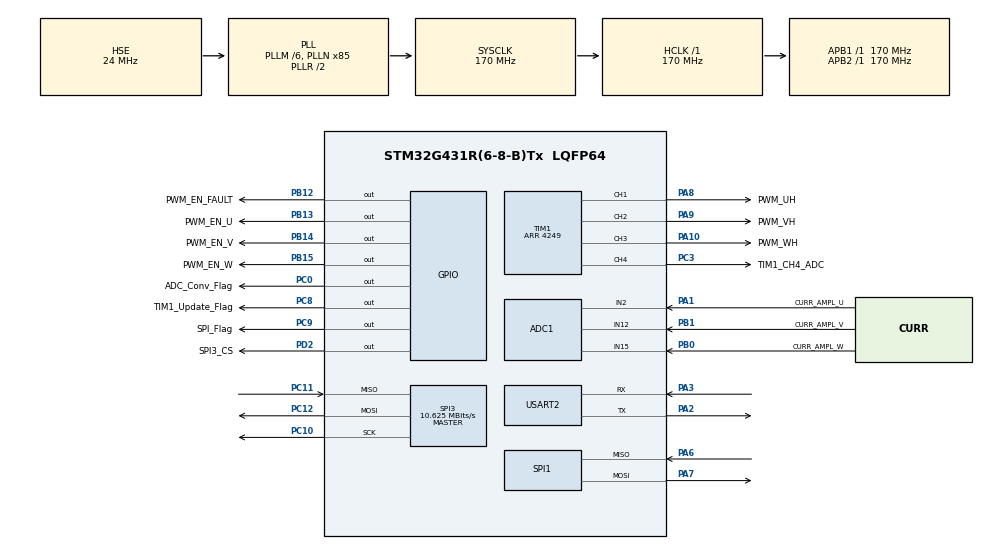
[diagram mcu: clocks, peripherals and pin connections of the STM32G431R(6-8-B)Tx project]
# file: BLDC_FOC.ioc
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ADC1.ClockPrescaler=ADC_CLOCK_ASYNC_DIV1
ADC1.DataAlign=ADC_DATAALIGN_RIGHT
ADC1.EnableInjectedConversion=ENABLE
ADC1.EnableRegularConversion=DISABLE
ADC1.ExternalTrigInjecConv=ADC_EXTERNALTRIGINJEC_T1_CC4
ADC1.InjNumberOfConversion=2
ADC1.InjectedChannel-3\#ChannelInjectedConversion=ADC_CHANNEL_2
ADC1.InjectedChannel-4\#ChannelInjectedConversion=ADC_CHANNEL_12
ADC1.InjectedOffsetNumber-3\#ChannelInjectedConversion=ADC_OFFSET_NONE
ADC1.InjectedOffsetNumber-4\#ChannelInjectedConversion=ADC_OFFSET_NONE
ADC1.InjectedRank-3\#ChannelInjectedConversion=1
ADC1.InjectedRank-4\#ChannelInjectedConversion=2
ADC1.InjectedSamplingTime-3\#ChannelInjectedConversion=ADC_SAMPLETIME_2CYCLES_5
ADC1.InjectedSamplingTime-4\#ChannelInjectedConversion=ADC_SAMPLETIME_2CYCLES_5
ADC1.Rank1_Channel=ADC_CHANNEL_2
ADC1.Rank2_Channel=ADC_CHANNEL_12
ADC1.Rank3_Channel=ADC_CHANNEL_15
ADC1.injectedQueueMode=DISABLE
ADC1.master=1
Dma.Request0=SPI3_TX
Dma.Request1=SPI3_RX
Dma.SPI3_RX.1.Direction=DMA_PERIPH_TO_MEMORY
Dma.SPI3_RX.1.EventEnable=DISABLE
Dma.SPI3_RX.1.Instance=DMA1_Channel2
Dma.SPI3_RX.1.MemDataAlignment=DMA_MDATAALIGN_BYTE
Dma.SPI3_RX.1.MemInc=DMA_MINC_ENABLE
Dma.SPI3_RX.1.Mode=DMA_NORMAL
Dma.SPI3_RX.1.PeriphDataAlignment=DMA_PDATAALIGN_BYTE
Dma.SPI3_RX.1.PeriphInc=DMA_PINC_DISABLE
Dma.SPI3_RX.1.Polarity=HAL_DMAMUX_REQ_GEN_RISING
Dma.SPI3_RX.1.Priority=DMA_PRIORITY_MEDIUM
Dma.SPI3_RX.1.RequestNumber=1
Dma.SPI3_RX.1.SignalID=NONE
Dma.SPI3_RX.1.SyncEnable=DISABLE
Dma.SPI3_RX.1.SyncPolarity=HAL_DMAMUX_SYNC_NO_EVENT
Dma.SPI3_RX.1.SyncRequestNumber=1
Dma.SPI3_RX.1.SyncSignalID=NONE
Dma.SPI3_TX.0.Direction=DMA_MEMORY_TO_PERIPH
Dma.SPI3_TX.0.EventEnable=DISABLE
Dma.SPI3_TX.0.Instance=DMA1_Channel1
Dma.SPI3_TX.0.MemDataAlignment=DMA_MDATAALIGN_BYTE
Dma.SPI3_TX.0.MemInc=DMA_MINC_ENABLE
Dma.SPI3_TX.0.Mode=DMA_NORMAL
Dma.SPI3_TX.0.PeriphDataAlignment=DMA_PDATAALIGN_BYTE
Dma.SPI3_TX.0.PeriphInc=DMA_PINC_DISABLE
Dma.SPI3_TX.0.Polarity=HAL_DMAMUX_REQ_GEN_RISING
Dma.SPI3_TX.0.Priority=DMA_PRIORITY_MEDIUM
Dma.SPI3_TX.0.RequestNumber=1
Dma.SPI3_TX.0.SignalID=NONE
Dma.SPI3_TX.0.SyncEnable=DISABLE
Dma.SPI3_TX.0.SyncPolarity=HAL_DMAMUX_SYNC_NO_EVENT
Dma.SPI3_TX.0.SyncRequestNumber=1
Dma.SPI3_TX.0.SyncSignalID=NONE
Mcu.Family=STM32G4
Mcu.Name=STM32G431R(6-8-B)Tx
Mcu.Package=LQFP64
NUCLEO-G431RB.BUTTON=1
NUCLEO-G431RB.LD1=true
NUCLEO-G431RB.VCP=true
NVIC.ADC1_2_IRQn=true\:1\:0\:true\:false\:true\:true\:true\:true
NVIC.DMA1_Channel1_IRQn=true\:1\:0\:true\:false\:true\:false\:true\:true
NVIC.DMA1_Channel2_IRQn=true\:1\:0\:true\:false\:true\:false\:true\:true
NVIC.PriorityGroup=NVIC_PRIORITYGROUP_4
NVIC.TIM1_UP_TIM16_IRQn=true\:0\:0\:true\:false\:true\:true\:true\:true
NVIC.TIM2_IRQn=true\:2\:0\:true\:false\:true\:true\:true\:true
NVIC.TIM3_IRQn=true\:3\:0\:true\:false\:true\:true\:true\:true
NVIC.TIM4_IRQn=true\:1\:0\:true\:false\:true\:true\:true\:true
NVIC.USART2_IRQn=true\:4\:0\:true\:false\:true\:true\:true\:true
PA1.GPIO_Label=CURR_AMPL_U
PA1.Mode=IN2-Single-Ended
PA1.Signal=ADC1_IN2
PA10.GPIO_Label=PWM_WH
PA10.Signal=S_TIM1_CH3
PA13.Mode=Serial_Wire
PA13.Signal=SYS_JTMS-SWDIO
PA14.Mode=Serial_Wire
PA14.Signal=SYS_JTCK-SWCLK
PA2.Mode=Asynchronous
PA2.Signal=USART2_TX
PA3.Mode=Asynchronous
PA3.Signal=USART2_RX
PA6.Mode=Full_Duplex_Master
PA6.Signal=SPI1_MISO
PA7.Mode=Full_Duplex_Master
PA7.Signal=SPI1_MOSI
PA8.GPIO_Label=PWM_UH
PA8.Signal=S_TIM1_CH1
PA9.GPIO_Label=PWM_VH
PA9.Signal=S_TIM1_CH2
PB0.GPIO_Label=CURR_AMPL_W
PB0.Mode=IN15-Single-Ended
PB0.Signal=ADC1_IN15
PB1.GPIO_Label=CURR_AMPL_V
PB1.Mode=IN12-Single-Ended
PB1.Signal=ADC1_IN12
PB12.GPIO_Label=PWM_EN_FAULT
PB12.GPIO_PuPd=GPIO_NOPULL
PB12.PinState=GPIO_PIN_SET
PB12.Signal=GPIO_Output
PB13.GPIO_Label=PWM_EN_U
PB13.GPIO_PuPd=GPIO_NOPULL
PB13.GPIO_Speed=GPIO_SPEED_FREQ_HIGH
PB13.PinState=GPIO_PIN_SET
PB13.Signal=GPIO_Output
PB14.GPIO_Label=PWM_EN_V
PB14.GPIO_PuPd=GPIO_NOPULL
PB14.GPIO_Speed=GPIO_SPEED_FREQ_HIGH
PB14.PinState=GPIO_PIN_SET
PB14.Signal=GPIO_Output
PB15.GPIO_Label=PWM_EN_W
PB15.GPIO_PuPd=GPIO_NOPULL
PB15.GPIO_Speed=GPIO_SPEED_FREQ_HIGH
PB15.PinState=GPIO_PIN_SET
PB15.Signal=GPIO_Output
PC0.GPIO_Label=ADC_Conv_Flag
PC0.Signal=GPIO_Output
PC10.Mode=Full_Duplex_Master
PC10.Signal=SPI3_SCK
PC11.Mode=Full_Duplex_Master
PC11.Signal=SPI3_MISO
PC12.Mode=Full_Duplex_Master
PC12.Signal=SPI3_MOSI
PC3.GPIO_Label=TIM1_CH4_ADC
PC3.Signal=S_TIM1_CH4
PC8.GPIO_Label=TIM1_Update_Flag
PC8.Signal=GPIO_Output
PC9.GPIO_Label=SPI_Flag
PC9.Signal=GPIO_Output
PD2.GPIO_Label=SPI3_CS
PD2.Signal=GPIO_Output
PF0-OSC_IN.GPIO_Label=RCC_OSC_IN
PF0-OSC_IN.Mode=HSE-External-Oscillator
PF0-OSC_IN.Signal=RCC_OSC_IN
PF1-OSC_OUT.GPIO_Label=RCC_OSC_OUT
PF1-OSC_OUT.Mode=HSE-External-Oscillator
PF1-OSC_OUT.Signal=RCC_OSC_OUT
ProjectManager.HeapSize=0x200
ProjectManager.StackSize=0x400
ProjectManager.TargetToolchain=STM32CubeIDE
RCC.ADC12CLockSelection=RCC_ADC12CLKSOURCE_PLL
RCC.ADC12Freq_Value=42500000
RCC.AHBFreq_Value=170000000
RCC.APB1Freq_Value=170000000
RCC.APB1TimFreq_Value=170000000
RCC.APB2Freq_Value=170000000
RCC.APB2TimFreq_Value=170000000
RCC.CortexFreq_Value=170000000
RCC.EXTERNAL_CLOCK_VALUE=12288000
RCC.HCLKFreq_Value=170000000
RCC.HSE_VALUE=24000000
RCC.HSI48_VALUE=48000000
RCC.HSI_VALUE=16000000
RCC.LSE_VALUE=32768
RCC.PLLM=RCC_PLLM_DIV6
RCC.PLLN=85
RCC.PLLP=RCC_PLLP_DIV8
RCC.PLLSourceVirtual=RCC_PLLSOURCE_HSE
RCC.RTCClockSelection=RCC_RTCCLKSOURCE_LSE
RCC.SYSCLKFreq_VALUE=170000000
RCC.SYSCLKSource=RCC_SYSCLKSOURCE_PLLCLK
RCC.USBFreq_Value=170000000
RCC.VCOOutputFreq_Value=340000000
SH.S_TIM1_CH1.0=TIM1_CH1,PWM Generation1 CH1
SH.S_TIM1_CH2.0=TIM1_CH2,PWM Generation2 CH2
SH.S_TIM1_CH3.0=TIM1_CH3,PWM Generation3 CH3
SH.S_TIM1_CH4.0=TIM1_CH4,PWM Generation4 CH4
SPI3.BaudRatePrescaler=SPI_BAUDRATEPRESCALER_16
SPI3.CLKPhase=SPI_PHASE_2EDGE
SPI3.CalculateBaudRate=10.625 MBits/s
SPI3.DataSize=SPI_DATASIZE_8BIT
SPI3.Direction=SPI_DIRECTION_2LINES
SPI3.Mode=SPI_MODE_MASTER
SPI3.VirtualType=VM_MASTER
TIM1.Channel-PWM\ Generation1\ CH1=TIM_CHANNEL_1
TIM1.Channel-PWM\ Generation2\ CH2=TIM_CHANNEL_2
TIM1.Channel-PWM\ Generation3\ CH3=TIM_CHANNEL_3
TIM1.Channel-PWM\ Generation4\ CH4=TIM_CHANNEL_4
TIM1.ClockDivision=TIM_CLOCKDIVISION_DIV1
TIM1.CounterMode=TIM_COUNTERMODE_CENTERALIGNED3
TIM1.OCMode_PWM-PWM\ Generation4\ CH4=TIM_OCMODE_PWM2
TIM1.PeriodNoDither=4249
TIM1.PulseNoDither_4=4220
TIM1.RepetitionCounter=0
TIM1.TIM_MasterOutputTrigger=TIM_TRGO_UPDATE
TIM1.TIM_MasterOutputTrigger2=TIM_TRGO2_OC4REF
TIM2.PeriodNoDither=39
TIM3.AutoReloadPreload=TIM_AUTORELOAD_PRELOAD_ENABLE
TIM3.PeriodNoDither=9999
TIM3.Prescaler=169
TIM4.PeriodNoDither=3
USART2.VirtualMode-Asynchronous=VM_ASYNC
VP_CORDIC_VS_CORDIC.Mode=CORDIC_Activate
VP_SYS_VS_DBSignals.Mode=DisableDeadBatterySignals
VP_TIM1_VS_ClockSourceINT.Mode=Internal
VP_TIM2_VS_ClockSourceITR.Mode=TriggerSource_ITR0
VP_TIM2_VS_ControllerModeClock.Mode=Clock Mode
VP_TIM3_VS_ClockSourceINT.Mode=Internal
VP_TIM4_VS_ClockSourceITR.Mode=TriggerSource_ITR0
VP_TIM4_VS_ControllerModeClock.Mode=Clock Mode
board=NUCLEO-G431RB

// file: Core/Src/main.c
/* USER CODE BEGIN Header */
/**
  ******************************************************************************
  * @file           : main.c
  * @brief          : Main program body
  ******************************************************************************
  * @attention
  *
  * Copyright (c) 2025 STMicroelectronics.
  * All rights reserved.
  *
  * This software is licensed under terms that can be found in the LICENSE file
  * in the root directory of this software component.
  * If no LICENSE file comes with this software, it is provided AS-IS.
  *
  ******************************************************************************
  */
/* USER CODE END Header */
#include "main.h"
#include "adc.h"
#include "cordic.h"
#include "dma.h"
#include "spi.h"
#include "tim.h"
#include "usart.h"
#include "gpio.h"

/* USER CODE BEGIN Includes */
#include "FOC/foc_loop.h"
#include "App/commander.h"
#include "App/motor_control.h"
#include "App/tests.h"
#include <stdio.h>
/* USER CODE END Includes */

void SystemClock_Config(void);

/* USER CODE BEGIN 0 */
int __io_putchar(int ch)
{
    uint8_t buf[2];
    uint16_t len = 0;

    if (ch == '\n')
        buf[len++] = '\r';

    buf[len++] = (uint8_t)ch;

    HAL_UART_Transmit(&huart2, buf, len, HAL_MAX_DELAY);
    return 1;
}
/* USER CODE END 0 */

int main(void)
{

  /* MCU Configuration--------------------------------------------------------*/

  /* Reset of all peripherals, Initializes the Flash interface and the Systick. */
  HAL_Init();

  /* USER CODE BEGIN Init */

//  SimpleDrive_Init(2.0f);  // 2 Hz sinusoida

  /* USER CODE END Init */

  /* Configure the system clock */
  SystemClock_Config();

  /* Initialize all configured peripherals */
  MX_GPIO_Init();
  MX_DMA_Init();
  MX_ADC1_Init();
  MX_SPI3_Init();
  MX_TIM2_Init();
  MX_TIM1_Init();
  MX_TIM3_Init();
  MX_CORDIC_Init();
  MX_TIM4_Init();
  MX_USART2_UART_Init();
  /* USER CODE BEGIN 2 */
  FOC_Init(&hadc1, &htim1, &htim4, &hspi3);
  Commander_Init(&huart2);
  MotorControl_Init(&htim2, &htim3);

//  TestMode_Init(&hspi3);
//  Test_AS5048AStability();
//  Test_AS5048AStabilityDMA();
  /* USER CODE END 2 */

  /* Infinite loop */
  while (1)
  {

  }
}

void SystemClock_Config(void)
{
  RCC_OscInitTypeDef RCC_OscInitStruct = {0};
  RCC_ClkInitTypeDef RCC_ClkInitStruct = {0};

  /** Configure the main internal regulator output voltage
  */
  HAL_PWREx_ControlVoltageScaling(PWR_REGULATOR_VOLTAGE_SCALE1_BOOST);

  /** Initializes the RCC Oscillators according to the specified parameters
  * in the RCC_OscInitTypeDef structure.
  */
  RCC_OscInitStruct.OscillatorType = RCC_OSCILLATORTYPE_HSE;
  RCC_OscInitStruct.HSEState = RCC_HSE_ON;
  RCC_OscInitStruct.PLL.PLLState = RCC_PLL_ON;
  RCC_OscInitStruct.PLL.PLLSource = RCC_PLLSOURCE_HSE;
  RCC_OscInitStruct.PLL.PLLM = RCC_PLLM_DIV6;
  RCC_OscInitStruct.PLL.PLLN = 85;
  RCC_OscInitStruct.PLL.PLLP = RCC_PLLP_DIV8;
  RCC_OscInitStruct.PLL.PLLQ = RCC_PLLQ_DIV2;
  RCC_OscInitStruct.PLL.PLLR = RCC_PLLR_DIV2;
  if (HAL_RCC_OscConfig(&RCC_OscInitStruct) != HAL_OK)
  {
    Error_Handler();
  }

  /** Initializes the CPU, AHB and APB buses clocks
  */
  RCC_ClkInitStruct.ClockType = RCC_CLOCKTYPE_HCLK|RCC_CLOCKTYPE_SYSCLK
                              |RCC_CLOCKTYPE_PCLK1|RCC_CLOCKTYPE_PCLK2;
  RCC_ClkInitStruct.SYSCLKSource = RCC_SYSCLKSOURCE_PLLCLK;
  RCC_ClkInitStruct.AHBCLKDivider = RCC_SYSCLK_DIV1;
  RCC_ClkInitStruct.APB1CLKDivider = RCC_HCLK_DIV1;
  RCC_ClkInitStruct.APB2CLKDivider = RCC_HCLK_DIV1;

  if (HAL_RCC_ClockConfig(&RCC_ClkInitStruct, FLASH_LATENCY_4) != HAL_OK)
  {
    Error_Handler();
  }
}

/* USER CODE BEGIN 4 */
void HAL_TIM_IC_CaptureCallback(TIM_HandleTypeDef *htim)
{

}

/* USER CODE END 4 */

void Error_Handler(void)
{
  __disable_irq();
  while (1)
  {
  }
}
